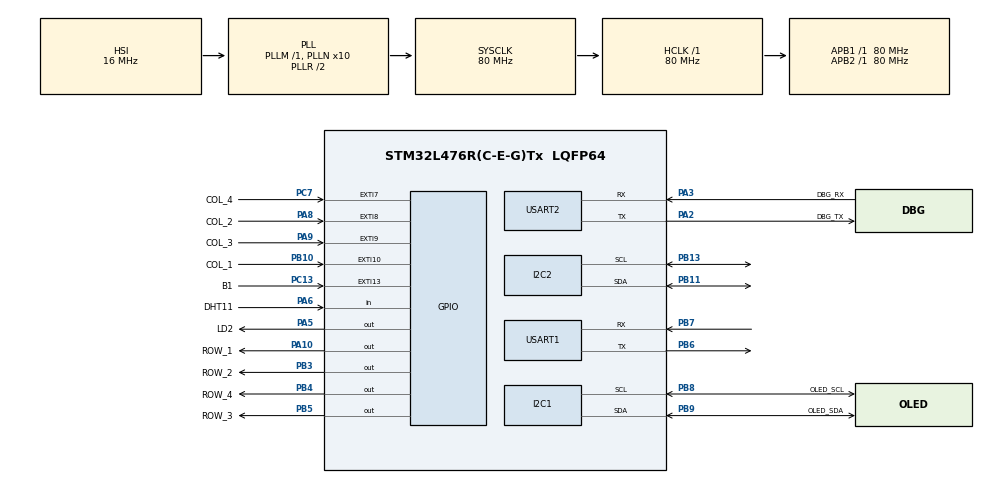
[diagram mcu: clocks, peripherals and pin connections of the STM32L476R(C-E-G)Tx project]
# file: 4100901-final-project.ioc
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I2C1.Timing=0x10909CEC
I2C2.Timing=0x10909CEC
Mcu.Family=STM32L4
Mcu.Name=STM32L476R(C-E-G)Tx
Mcu.Package=LQFP64
NVIC.EXTI15_10_IRQn=true\:0\:0\:false\:false\:true\:true\:true\:true
NVIC.EXTI9_5_IRQn=true\:0\:0\:false\:false\:true\:true\:true\:true
NVIC.PriorityGroup=NVIC_PRIORITYGROUP_4
NVIC.RTC_Alarm_IRQn=true\:0\:0\:false\:false\:true\:true\:true\:true
NVIC.USART1_IRQn=true\:0\:0\:false\:false\:true\:true\:true\:true
NVIC.USART2_IRQn=true\:0\:0\:false\:false\:true\:true\:true\:true
PA10.GPIO_Label=ROW_1
PA10.Signal=GPIO_Output
PA13\ (JTMS-SWDIO).GPIO_Label=TMS
PA13\ (JTMS-SWDIO).Mode=Serial_Wire
PA13\ (JTMS-SWDIO).Signal=SYS_JTMS-SWDIO
PA14\ (JTCK-SWCLK).GPIO_Label=TCK
PA14\ (JTCK-SWCLK).Mode=Serial_Wire
PA14\ (JTCK-SWCLK).Signal=SYS_JTCK-SWCLK
PA2.GPIO_Label=DBG_TX
PA2.GPIO_Mode=GPIO_MODE_AF_PP
PA2.GPIO_PuPd=GPIO_NOPULL
PA2.GPIO_Speed=GPIO_SPEED_FREQ_VERY_HIGH
PA2.Mode=Asynchronous
PA2.Signal=USART2_TX
PA3.GPIO_Label=DBG_RX
PA3.GPIO_Mode=GPIO_MODE_AF_PP
PA3.GPIO_PuPd=GPIO_NOPULL
PA3.GPIO_Speed=GPIO_SPEED_FREQ_VERY_HIGH
PA3.Mode=Asynchronous
PA3.Signal=USART2_RX
PA5.GPIO_Label=LD2
PA5.GPIO_ModeDefaultOutputPP=GPIO_MODE_OUTPUT_PP
PA5.GPIO_PuPd=GPIO_NOPULL
PA5.GPIO_Speed=GPIO_SPEED_FREQ_LOW
PA5.Signal=GPIO_Output
PA6.GPIO_Label=DHT11
PA6.GPIO_PuPd=GPIO_PULLUP
PA6.Signal=GPIO_Input
PA8.GPIO_Label=COL_2
PA8.GPIO_PuPd=GPIO_PULLDOWN
PA8.Signal=GPXTI8
PA9.GPIO_Label=COL_3
PA9.GPIO_PuPd=GPIO_PULLDOWN
PA9.Signal=GPXTI9
PB10.GPIO_Label=COL_1
PB10.GPIO_PuPd=GPIO_PULLDOWN
PB10.Signal=GPXTI10
PB11.Mode=I2C
PB11.Signal=I2C2_SDA
PB13.Mode=I2C
PB13.Signal=I2C2_SCL
PB3\ (JTDO-TRACESWO).GPIO_Label=ROW_2
PB3\ (JTDO-TRACESWO).Signal=GPIO_Output
PB4\ (NJTRST).GPIO_Label=ROW_4
PB4\ (NJTRST).Signal=GPIO_Output
PB5.GPIO_Label=ROW_3
PB5.Signal=GPIO_Output
PB6.Mode=Asynchronous
PB6.Signal=USART1_TX
PB7.Mode=Asynchronous
PB7.Signal=USART1_RX
PB8.GPIO_Label=OLED_SCL
PB8.Mode=I2C
PB8.Signal=I2C1_SCL
PB9.GPIO_Label=OLED_SDA
PB9.Mode=I2C
PB9.Signal=I2C1_SDA
PC13.GPIO_Label=B1
PC13.GPIO_ModeDefaultEXTI=GPIO_MODE_IT_FALLING
PC13.GPIO_PuPd=GPIO_NOPULL
PC13.Signal=GPXTI13
PC14-OSC32_IN\ (PC14).GPIO_Label=LSE_IN
PC14-OSC32_IN\ (PC14).Mode=LSE-External-Oscillator
PC14-OSC32_IN\ (PC14).Signal=RCC_OSC32_IN
PC15-OSC32_OUT\ (PC15).GPIO_Label=LSE_OUT
PC15-OSC32_OUT\ (PC15).Mode=LSE-External-Oscillator
PC15-OSC32_OUT\ (PC15).Signal=RCC_OSC32_OUT
PC7.GPIO_Label=COL_4
PC7.GPIO_PuPd=GPIO_PULLDOWN
PC7.Signal=GPXTI7
ProjectManager.HeapSize=0x200
ProjectManager.StackSize=0x400
ProjectManager.TargetToolchain=STM32CubeIDE
RCC.ADCFreq_Value=64000000
RCC.AHBFreq_Value=80000000
RCC.APB1Freq_Value=80000000
RCC.APB1TimFreq_Value=80000000
RCC.APB2Freq_Value=80000000
RCC.APB2TimFreq_Value=80000000
RCC.CortexFreq_Value=80000000
RCC.HCLKFreq_Value=80000000
RCC.HSE_VALUE=8000000
RCC.HSI_VALUE=16000000
RCC.MSI_VALUE=4000000
RCC.PLLN=10
RCC.PLLSourceVirtual=RCC_PLLSOURCE_HSI
RCC.PREFETCH_ENABLE=1
RCC.SYSCLKFreq_VALUE=80000000
RCC.SYSCLKSource=RCC_SYSCLKSOURCE_PLLCLK
RCC.USBFreq_Value=64000000
RCC.VCOOutputFreq_Value=160000000
RTC.Alarm-Alarm\ A=RTC_ALARM_A
RTC.Seconds_A-Alarm\ A=0
USART1.VirtualMode-Asynchronous=VM_ASYNC
USART2.VirtualMode-Asynchronous=VM_ASYNC
VP_RTC_VS_RTC_Activate.Mode=RTC_Enabled
VP_RTC_VS_RTC_Alarm_A_Intern.Mode=Alarm A
VP_RTC_VS_RTC_Calendar.Mode=RTC_Calendar
board=NUCLEO-L476RG

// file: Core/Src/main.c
/* USER CODE BEGIN Header */
/**
  ******************************************************************************
  * @file           : main.c
  * @brief          : Main program body
  ******************************************************************************
  * @attention
  *
  * Copyright (c) 2023 STMicroelectronics.
  * All rights reserved.
  *
  * This software is licensed under terms that can be found in the LICENSE file
  * in the root directory of this software component.
  * If no LICENSE file comes with this software, it is provided AS-IS.
  *
  ******************************************************************************
  */
/* USER CODE END Header */
#include "main.h"

/* USER CODE BEGIN Includes */
#include <stdio.h>
#include <ssd1306.h>
#include <ssd1306_fonts.h>
#include "lock.h"
#include "keypad.h"

/* USER CODE END Includes */

I2C_HandleTypeDef hi2c1;
I2C_HandleTypeDef hi2c2;

RTC_HandleTypeDef hrtc;

UART_HandleTypeDef huart1;

/* USER CODE BEGIN PV */
volatile uint16_t keypad_event = KEYPAD_EVENT_NONE;

/* USER CODE END PV */

void SystemClock_Config(void);
static void MX_GPIO_Init(void);
static void MX_USART2_UART_Init(void);
static void MX_I2C1_Init(void);
static void MX_RTC_Init(void);
static void MX_I2C2_Init(void);
static void MX_USART1_UART_Init(void);

/* USER CODE BEGIN 0 */
//uint8_t data[5] = {0};
uint8_t i, j;
uint8_t PinValue;
#define RX_BUFFER_SIZE  64
char IpAdress[]="192.168.1.1";
uint8_t rx_buffer[RX_BUFFER_SIZE];
char parsedIPAddress[]="192.168.1.1";
unsigned char SSDE_LOGE[]=
{
		0x00, 0x00, 0x00, 0x00, 0x00, 0x00, 0x00, 0x00, 0x00, 0x00, 0x00, 0x00, 0x00, 0x00, 0x00, 0x00,
		0x00, 0x00, 0x00, 0x00, 0x00, 0x00, 0x00, 0x00, 0x00, 0x00, 0x00, 0x00, 0x00, 0x00, 0x00, 0x00,
		0x00, 0x00, 0x00, 0x00, 0x00, 0x00, 0x00, 0x00, 0x00, 0x00, 0x00, 0x00, 0x00, 0x00, 0x00, 0x00,
		0x00, 0x00, 0x00, 0x00, 0x00, 0x00, 0x00, 0x00, 0x00, 0x00, 0x00, 0x00, 0x00, 0x00, 0x00, 0x00,
		0x00, 0x00, 0x00, 0x00, 0x00, 0x00, 0x00, 0x00, 0x00, 0x00, 0x00, 0x00, 0x00, 0x00, 0x00, 0x00,
		0x00, 0x00, 0x00, 0x00, 0x00, 0x00, 0x00, 0x00, 0x00, 0x00, 0x00, 0x00, 0x00, 0x20, 0x00, 0x00,
		0x00, 0x00, 0x00, 0x00, 0x00, 0x00, 0x00, 0x00, 0x70, 0x00, 0x00, 0x00, 0x00, 0x00, 0x00, 0x00,
		0x00, 0x00, 0x00, 0xd2, 0x00, 0x00, 0x00, 0x00, 0x00, 0x00, 0x00, 0x00, 0x00, 0x04, 0xd3, 0x00,
		0x00, 0x00, 0x00, 0x00, 0x00, 0x00, 0x00, 0x00, 0x04, 0x73, 0x00, 0x00, 0x00, 0x00, 0x00, 0x00,
		0x00, 0x00, 0x03, 0x84, 0x22, 0x1c, 0x00, 0x00, 0x00, 0x00, 0x00, 0x00, 0x00, 0x01, 0xc0, 0x03,
		0x28, 0x00, 0x00, 0x00, 0x00, 0x00, 0x00, 0x00, 0x01, 0xc0, 0x00, 0x38, 0x00, 0x00, 0x00, 0x00,
		0x00, 0x00, 0x00, 0x01, 0xc0, 0x00, 0x00, 0x00, 0x00, 0x00, 0x00, 0x00, 0x00, 0x00, 0x08, 0x00,
		0x00, 0x00, 0x00, 0x00, 0x00, 0x00, 0x00, 0x00, 0x00, 0x00, 0x00, 0x00, 0x00, 0x00, 0x00, 0x00,
		0x00, 0x00, 0x00, 0x00, 0x0e, 0x0f, 0xff, 0x02, 0x80, 0x00, 0x00, 0x00, 0x00, 0x00, 0x00, 0x0b,
		0x0f, 0xff, 0x06, 0xc0, 0x00, 0x00, 0x00, 0x00, 0x00, 0x00, 0x04, 0x0f, 0xff, 0x00, 0x00, 0x00,
		0x00, 0x00, 0x00, 0x00, 0x00, 0x00, 0x0f, 0x00, 0x00, 0x00, 0x00, 0x00, 0x00, 0x00, 0x00, 0x00,
		0x00, 0x0f, 0x00, 0x00, 0x00, 0x00, 0x00, 0x00, 0x00, 0x00, 0x00, 0x00, 0x0f, 0x00, 0x00, 0x40,
		0x00, 0x00, 0x00, 0x00, 0x00, 0x00, 0x74, 0x0f, 0xfe, 0x01, 0xe0, 0x00, 0x00, 0x00, 0x00, 0x00,
		0x00, 0x74, 0x0f, 0xfe, 0x01, 0xe0, 0x00, 0x00, 0x00, 0x00, 0x00, 0x00, 0x10, 0x0f, 0xfe, 0x00,
		0xc0, 0x00, 0x00, 0x00, 0x00, 0x00, 0x00, 0x00, 0x0f, 0x00, 0x00, 0x00, 0x00, 0x00, 0x00, 0x00,
		0x00, 0x00, 0x00, 0x0f, 0x00, 0x00, 0x00, 0x00, 0x00, 0x00, 0x00, 0x00, 0x00, 0x00, 0x0f, 0x00,
		0x00, 0x00, 0x00, 0x00, 0x00, 0x00, 0x00, 0x00, 0x09, 0x8f, 0xff, 0x07, 0x00, 0x00, 0x00, 0x00,
		0x00, 0x00, 0x00, 0x08, 0x0f, 0xff, 0x07, 0x00, 0x00, 0x00, 0x00, 0x00, 0x00, 0x00, 0x00, 0x0f,
		0xff, 0x00, 0x00, 0x00, 0x00, 0x00, 0x00, 0x00, 0x00, 0x1c, 0x00, 0x00, 0x00, 0x00, 0x00, 0x00,
		0x00, 0x00, 0x00, 0x00, 0x1c, 0x00, 0x00, 0x00, 0x00, 0x00, 0x00, 0x00, 0x00, 0x00, 0x00, 0x01,
		0xc0, 0x00, 0x00, 0x00, 0x00, 0x00, 0x00, 0x00, 0x00, 0x00, 0x01, 0xc0, 0x00, 0x28, 0x00, 0x00,
		0x00, 0x00, 0x00, 0x00, 0x00, 0x01, 0x44, 0x03, 0x28, 0x00, 0x00, 0x00, 0x00, 0x00, 0x00, 0x00,
		0x03, 0x84, 0x60, 0x1c, 0x00, 0x00, 0x00, 0x00, 0x00, 0x00, 0x00, 0x00, 0x04, 0x73, 0x00, 0x00,
		0x00, 0x00, 0x00, 0x00, 0x00, 0x00, 0x00, 0x04, 0xf3, 0x00, 0x00, 0x00, 0x00, 0x00, 0x00, 0x00,
		0x00, 0x00, 0x00, 0x70, 0x00, 0x00, 0x00, 0x00, 0x00, 0x00, 0x00, 0x00, 0x00, 0x00, 0x60, 0x00,
		0x00, 0x00, 0x00, 0x00, 0x00, 0x00, 0x00, 0x00, 0x00, 0x00, 0x00, 0x00, 0x00, 0x00, 0x00, 0x00,
		0x00, 0x00, 0x00, 0x00, 0x00, 0x00, 0x00, 0x00, 0x00, 0x00, 0x00, 0x00, 0x00, 0x00, 0x00, 0x00,
		0x00, 0x00, 0x00, 0x00, 0x00, 0x00, 0x00, 0x00, 0x00, 0x00, 0x00, 0x00, 0x00, 0x00, 0x00, 0x00,
		0x00, 0x00, 0x00, 0x00, 0x00, 0x00, 0x00, 0x00, 0x00, 0x00, 0x00, 0x00, 0x00, 0x00, 0x00, 0x00,
		0x00, 0x00, 0x00, 0x00, 0x00, 0x00, 0x00, 0x00, 0x00, 0x00, 0x00, 0x00, 0x00, 0x00, 0x00, 0x00,
		0x00, 0x00, 0x00, 0x00, 0x00, 0x00, 0x00, 0x00, 0x00, 0x00, 0x00, 0x00

};
//

int _write(int file, char *ptr, int len)//This line defines the function signature. The function has three parameters: file, ptr, and len.
{
  // send each byte in blocking mode
  for (uint8_t idx = 0; idx < len; idx++) {//This for loop iterates over the data to be written. The loop variable idx is used to index into the data buffer.
	  while (LL_USART_IsActiveFlag_TXE(USART2) == 0) {//This while loop waits until the Tx Empty flag is set, indicating that the USART2 peripheral is ready to transmit another byte.
		  // wait until Tx Empty flag becomes true
		  // TODO: add timeout
	  }
	  LL_USART_TransmitData8(USART2, ptr[idx]);//This function transmits the byte of data at index idx in the data buffer.
  }
  return len;//This line returns the number of bytes that were written.

}

// Startup interface with icon of designer
void ssd1306_logo(void)
{	  ssd1306_Reset();//reset of Display
      ssd1306_Fill(Black);//Set color background
	  ssd1306_SetCursor(0, 0);//set cursor for write in display
	  ssd1306_WriteString("Final Project", Font_6x8, White);//write string in display with size font 6x8 with color white
	  ssd1306_Line(0, 10, 128, 10, White);//Generate a line in display of color white
	  ssd1306_DrawBitmap((SSD1306_WIDTH-84)/2, (SSD1306_HEIGHT-45)/2, SSDE_LOGE , 84, 52, White);//draw bitmap for icon
	  ssd1306_UpdateScreen();//Refresh display
	  HAL_Delay(5000);//Wait 5 seconds
	  ssd1306_Reset();//reset of Display

}

void keypad_it_callback(uint16_t pin)//This line defines the function signature. The function has one parameter: pin.
{
	keypad_event = pin;//This line stores the pin number of the pressed button in the keypad_event variable.
}

/* USER CODE END 0 */

int main(void)
{

  /* MCU Configuration--------------------------------------------------------*/

  /* Reset of all peripherals, Initializes the Flash interface and the Systick. */
  HAL_Init();

  /* Configure the system clock */
  SystemClock_Config();

  /* Initialize all configured peripherals */
  MX_GPIO_Init();
  MX_USART2_UART_Init();
  MX_I2C1_Init();
  MX_RTC_Init();
  MX_I2C2_Init();
  MX_USART1_UART_Init();
  /* USER CODE BEGIN 2 */
  ssd1306_Init();//Initializes the SSD1306 OLED display. This function configures the display and prepares it for use.
  ssd1306_logo();//Displays the application logo on the OLED display. This function draws the logo onto the display.
  lock_init();// Initializes the lock system. This function sets up the lock state and prepares the system for user input.
  keypad_init();//Initializes the keypad. This function configures the keypad GPIO pins and prepares the system for keypad input.
 // initDHT11();//Initializes the DHT11 temperature and humidity sensor. This function configures the sensor GPIO pins and prepares the system for sensor readings.

 HAL_UART_Transmit(&huart1, (uint8_t *)"AT+CIPMUX=1\r\n", 14, HAL_MAX_DELAY);  // Configurar el ESP-01 para múltiples conexiones
 HAL_UART_Transmit(&huart1, (uint8_t *)"AT+CIPSERVER=1,23\r\n", 19, HAL_MAX_DELAY);  // Configurar el ESP-01 como servidor Telnet
 //HAL_UART2_Transmit(&huart2, (uint8_t *)"AT+CIPSERVER=1,230\r\n", 19, HAL_MAX_DELAY);
//  ssd1306_SetContrast(0x81);
//  ssd1306_SetCursor(25,0);
//  ssd1306_Fill(Black);
//  ssd1306_WriteString("Hola :)", Font_11x18, White);
//  ssd1306_UpdateScreen();
//  HAL_Delay(5000);
//  ssd1306_Reset();

  /* USER CODE END 2 */

  /* Infinite loop */
  /* USER CODE BEGIN WHILE */
  printf("Started\r\n");//print in terminal "Started"
  while (1)//Generate main loop
  {
	 // HAL_UART_Receive(&huart1, , ), HAL_MAX_DELAY);
	  HAL_UART_Receive(&huart1, rx_buffer, sizeof(rx_buffer), HAL_MAX_DELAY);

	  uint8_t key_pressed = keypad_run(&keypad_event);//This line calls the keypad_run() function to check if a keypad button has been pressed. The keypad_run() function takes a pointer to the keypad_event variable as an argument. The function returns the key code of the pressed button, or KEY_PRESSED_NONE if no button has been pressed.
	  if (key_pressed != KEY_PRESSED_NONE) {//This line checks if the key_pressed variable is not equal to KEY_PRESSED_NONE. If so, this means that a keypad button has been pressed.
		  printf("key: %c\r\n",key_pressed);//This line prints the key code of the pressed button to the console.
		  lock_sequence_handler(key_pressed);//This line calls the lock_sequence_handler() function to handle the key press. The lock_sequence_handler() function takes the key code of the pressed button as an argument.
	  }
  }
}

void ESP_ConnectTelnet(void) {
  char command[] = "AT+CIPSTART=\"TCP\",\"192.168.1.100\",23\r\n";  // Reemplaza con la dirección IP del ESP-01
  char response[100];  // Ajusta el tamaño según tus necesidades

  // Envia el comando AT para establecer la conexión Telnet
  HAL_UART_Transmit(&huart1, (uint8_t*)command, strlen(command), HAL_MAX_DELAY);

  // Espera a recibir la respuesta
  HAL_UART_Receive(&huart1, (uint8_t*)response, sizeof(response), HAL_MAX_DELAY);

  // Analiza la respuesta para obtener la dirección IP (si está disponible)
  // ...

  // Imprime la dirección IP a través de la UART
  HAL_UART_Transmit(&huart1, (uint8_t*)"IP Address: ", strlen("IP Address: "), HAL_MAX_DELAY);
  HAL_UART_Transmit(&huart1, (uint8_t*)parsedIPAddress, strlen(parsedIPAddress), HAL_MAX_DELAY);
  HAL_UART_Transmit(&huart1, (uint8_t*)"\r\n", 2, HAL_MAX_DELAY);
}

    /* USER CODE END WHILE */

void SystemClock_Config(void)
{
  RCC_OscInitTypeDef RCC_OscInitStruct = {0};
  RCC_ClkInitTypeDef RCC_ClkInitStruct = {0};

  /** Configure the main internal regulator output voltage
  */
  if (HAL_PWREx_ControlVoltageScaling(PWR_REGULATOR_VOLTAGE_SCALE1) != HAL_OK)
  {
    Error_Handler();
  }

  /** Initializes the RCC Oscillators according to the specified parameters
  * in the RCC_OscInitTypeDef structure.
  */
  RCC_OscInitStruct.OscillatorType = RCC_OSCILLATORTYPE_HSI|RCC_OSCILLATORTYPE_LSI;
  RCC_OscInitStruct.HSIState = RCC_HSI_ON;
  RCC_OscInitStruct.HSICalibrationValue = RCC_HSICALIBRATION_DEFAULT;
  RCC_OscInitStruct.LSIState = RCC_LSI_ON;
  RCC_OscInitStruct.PLL.PLLState = RCC_PLL_ON;
  RCC_OscInitStruct.PLL.PLLSource = RCC_PLLSOURCE_HSI;
  RCC_OscInitStruct.PLL.PLLM = 1;
  RCC_OscInitStruct.PLL.PLLN = 10;
  RCC_OscInitStruct.PLL.PLLP = RCC_PLLP_DIV7;
  RCC_OscInitStruct.PLL.PLLQ = RCC_PLLQ_DIV2;
  RCC_OscInitStruct.PLL.PLLR = RCC_PLLR_DIV2;
  if (HAL_RCC_OscConfig(&RCC_OscInitStruct) != HAL_OK)
  {
    Error_Handler();
  }

  /** Initializes the CPU, AHB and APB buses clocks
  */
  RCC_ClkInitStruct.ClockType = RCC_CLOCKTYPE_HCLK|RCC_CLOCKTYPE_SYSCLK
                              |RCC_CLOCKTYPE_PCLK1|RCC_CLOCKTYPE_PCLK2;
  RCC_ClkInitStruct.SYSCLKSource = RCC_SYSCLKSOURCE_PLLCLK;
  RCC_ClkInitStruct.AHBCLKDivider = RCC_SYSCLK_DIV1;
  RCC_ClkInitStruct.APB1CLKDivider = RCC_HCLK_DIV1;
  RCC_ClkInitStruct.APB2CLKDivider = RCC_HCLK_DIV1;

  if (HAL_RCC_ClockConfig(&RCC_ClkInitStruct, FLASH_LATENCY_4) != HAL_OK)
  {
    Error_Handler();
  }
}

static void MX_I2C1_Init(void)
{

  hi2c1.Instance = I2C1;
  hi2c1.Init.Timing = 0x10909CEC;
  hi2c1.Init.OwnAddress1 = 0;
  hi2c1.Init.AddressingMode = I2C_ADDRESSINGMODE_7BIT;
  hi2c1.Init.DualAddressMode = I2C_DUALADDRESS_DISABLE;
  hi2c1.Init.OwnAddress2 = 0;
  hi2c1.Init.OwnAddress2Masks = I2C_OA2_NOMASK;
  hi2c1.Init.GeneralCallMode = I2C_GENERALCALL_DISABLE;
  hi2c1.Init.NoStretchMode = I2C_NOSTRETCH_DISABLE;
  if (HAL_I2C_Init(&hi2c1) != HAL_OK)
  {
    Error_Handler();
  }

  /** Configure Analogue filter
  */
  if (HAL_I2CEx_ConfigAnalogFilter(&hi2c1, I2C_ANALOGFILTER_ENABLE) != HAL_OK)
  {
    Error_Handler();
  }

  /** Configure Digital filter
  */
  if (HAL_I2CEx_ConfigDigitalFilter(&hi2c1, 0) != HAL_OK)
  {
    Error_Handler();
  }

}

static void MX_I2C2_Init(void)
{

  hi2c2.Instance = I2C2;
  hi2c2.Init.Timing = 0x10909CEC;
  hi2c2.Init.OwnAddress1 = 0;
  hi2c2.Init.AddressingMode = I2C_ADDRESSINGMODE_7BIT;
  hi2c2.Init.DualAddressMode = I2C_DUALADDRESS_DISABLE;
  hi2c2.Init.OwnAddress2 = 0;
  hi2c2.Init.OwnAddress2Masks = I2C_OA2_NOMASK;
  hi2c2.Init.GeneralCallMode = I2C_GENERALCALL_DISABLE;
  hi2c2.Init.NoStretchMode = I2C_NOSTRETCH_DISABLE;
  if (HAL_I2C_Init(&hi2c2) != HAL_OK)
  {
    Error_Handler();
  }

  /** Configure Analogue filter
  */
  if (HAL_I2CEx_ConfigAnalogFilter(&hi2c2, I2C_ANALOGFILTER_ENABLE) != HAL_OK)
  {
    Error_Handler();
  }

  /** Configure Digital filter
  */
  if (HAL_I2CEx_ConfigDigitalFilter(&hi2c2, 0) != HAL_OK)
  {
    Error_Handler();
  }

}

static void MX_RTC_Init(void)
{

  RTC_TimeTypeDef sTime = {0};
  RTC_DateTypeDef sDate = {0};
  RTC_AlarmTypeDef sAlarm = {0};

  /** Initialize RTC Only
  */
  hrtc.Instance = RTC;
  hrtc.Init.HourFormat = RTC_HOURFORMAT_24;
  hrtc.Init.AsynchPrediv = 127;
  hrtc.Init.SynchPrediv = 255;
  hrtc.Init.OutPut = RTC_OUTPUT_DISABLE;
  hrtc.Init.OutPutRemap = RTC_OUTPUT_REMAP_NONE;
  hrtc.Init.OutPutPolarity = RTC_OUTPUT_POLARITY_HIGH;
  hrtc.Init.OutPutType = RTC_OUTPUT_TYPE_OPENDRAIN;
  if (HAL_RTC_Init(&hrtc) != HAL_OK)
  {
    Error_Handler();
  }

  /** Initialize RTC and set the Time and Date
  */
  sTime.Hours = 0x0;
  sTime.Minutes = 0x0;
  sTime.Seconds = 0x0;
  sTime.DayLightSaving = RTC_DAYLIGHTSAVING_NONE;
  sTime.StoreOperation = RTC_STOREOPERATION_RESET;
  if (HAL_RTC_SetTime(&hrtc, &sTime, RTC_FORMAT_BCD) != HAL_OK)
  {
    Error_Handler();
  }
  sDate.WeekDay = RTC_WEEKDAY_MONDAY;
  sDate.Month = RTC_MONTH_JANUARY;
  sDate.Date = 0x1;
  sDate.Year = 0x0;

  if (HAL_RTC_SetDate(&hrtc, &sDate, RTC_FORMAT_BCD) != HAL_OK)
  {
    Error_Handler();
  }

  /** Enable the Alarm A
  */
  sAlarm.AlarmTime.Hours = 0x0;
  sAlarm.AlarmTime.Minutes = 0x0;
  sAlarm.AlarmTime.Seconds = 0x0;
  sAlarm.AlarmTime.SubSeconds = 0x0;
  sAlarm.AlarmTime.DayLightSaving = RTC_DAYLIGHTSAVING_NONE;
  sAlarm.AlarmTime.StoreOperation = RTC_STOREOPERATION_RESET;
  sAlarm.AlarmMask = RTC_ALARMMASK_NONE;
  sAlarm.AlarmSubSecondMask = RTC_ALARMSUBSECONDMASK_ALL;
  sAlarm.AlarmDateWeekDaySel = RTC_ALARMDATEWEEKDAYSEL_DATE;
  sAlarm.AlarmDateWeekDay = 0x1;
  sAlarm.Alarm = RTC_ALARM_A;
  if (HAL_RTC_SetAlarm_IT(&hrtc, &sAlarm, RTC_FORMAT_BCD) != HAL_OK)
  {
    Error_Handler();
  }

}

static void MX_USART1_UART_Init(void)
{

  huart1.Instance = USART1;
  huart1.Init.BaudRate = 115200;
  huart1.Init.WordLength = UART_WORDLENGTH_8B;
  huart1.Init.StopBits = UART_STOPBITS_1;
  huart1.Init.Parity = UART_PARITY_NONE;
  huart1.Init.Mode = UART_MODE_TX_RX;
  huart1.Init.HwFlowCtl = UART_HWCONTROL_NONE;
  huart1.Init.OverSampling = UART_OVERSAMPLING_16;
  huart1.Init.OneBitSampling = UART_ONE_BIT_SAMPLE_DISABLE;
  huart1.AdvancedInit.AdvFeatureInit = UART_ADVFEATURE_NO_INIT;
  if (HAL_UART_Init(&huart1) != HAL_OK)
  {
    Error_Handler();
  }

}

static void MX_USART2_UART_Init(void)
{

  LL_USART_InitTypeDef USART_InitStruct = {0};

  LL_GPIO_InitTypeDef GPIO_InitStruct = {0};
  RCC_PeriphCLKInitTypeDef PeriphClkInit = {0};

  /** Initializes the peripherals clock
  */
  PeriphClkInit.PeriphClockSelection = RCC_PERIPHCLK_USART2;
  PeriphClkInit.Usart2ClockSelection = RCC_USART2CLKSOURCE_PCLK1;
  if (HAL_RCCEx_PeriphCLKConfig(&PeriphClkInit) != HAL_OK)
  {
    Error_Handler();
  }

  /* Peripheral clock enable */
  LL_APB1_GRP1_EnableClock(LL_APB1_GRP1_PERIPH_USART2);

  LL_AHB2_GRP1_EnableClock(LL_AHB2_GRP1_PERIPH_GPIOA);
  /**USART2 GPIO Configuration
  PA2   ------> USART2_TX
  PA3   ------> USART2_RX
  */
  GPIO_InitStruct.Pin = DBG_TX_Pin|DBG_RX_Pin;
  GPIO_InitStruct.Mode = LL_GPIO_MODE_ALTERNATE;
  GPIO_InitStruct.Speed = LL_GPIO_SPEED_FREQ_VERY_HIGH;
  GPIO_InitStruct.OutputType = LL_GPIO_OUTPUT_PUSHPULL;
  GPIO_InitStruct.Pull = LL_GPIO_PULL_NO;
  GPIO_InitStruct.Alternate = LL_GPIO_AF_7;
  LL_GPIO_Init(GPIOA, &GPIO_InitStruct);

  /* USART2 interrupt Init */
  NVIC_SetPriority(USART2_IRQn, NVIC_EncodePriority(NVIC_GetPriorityGrouping(),0, 0));
  NVIC_EnableIRQ(USART2_IRQn);

  USART_InitStruct.BaudRate = 115200;
  USART_InitStruct.DataWidth = LL_USART_DATAWIDTH_8B;
  USART_InitStruct.StopBits = LL_USART_STOPBITS_1;
  USART_InitStruct.Parity = LL_USART_PARITY_NONE;
  USART_InitStruct.TransferDirection = LL_USART_DIRECTION_TX_RX;
  USART_InitStruct.HardwareFlowControl = LL_USART_HWCONTROL_NONE;
  USART_InitStruct.OverSampling = LL_USART_OVERSAMPLING_16;
  LL_USART_Init(USART2, &USART_InitStruct);
  LL_USART_ConfigAsyncMode(USART2);
  LL_USART_Enable(USART2);

}

static void MX_GPIO_Init(void)
{
  LL_EXTI_InitTypeDef EXTI_InitStruct = {0};
  LL_GPIO_InitTypeDef GPIO_InitStruct = {0};

  /* GPIO Ports Clock Enable */
  LL_AHB2_GRP1_EnableClock(LL_AHB2_GRP1_PERIPH_GPIOC);
  LL_AHB2_GRP1_EnableClock(LL_AHB2_GRP1_PERIPH_GPIOA);
  LL_AHB2_GRP1_EnableClock(LL_AHB2_GRP1_PERIPH_GPIOB);

  /**/
  LL_GPIO_ResetOutputPin(GPIOA, LD2_Pin|ROW_1_Pin);

  /**/
  LL_GPIO_ResetOutputPin(GPIOB, ROW_2_Pin|ROW_4_Pin|ROW_3_Pin);

  /**/
  LL_SYSCFG_SetEXTISource(LL_SYSCFG_EXTI_PORTC, LL_SYSCFG_EXTI_LINE13);

  /**/
  LL_SYSCFG_SetEXTISource(LL_SYSCFG_EXTI_PORTB, LL_SYSCFG_EXTI_LINE10);

  /**/
  LL_SYSCFG_SetEXTISource(LL_SYSCFG_EXTI_PORTC, LL_SYSCFG_EXTI_LINE7);

  /**/
  LL_SYSCFG_SetEXTISource(LL_SYSCFG_EXTI_PORTA, LL_SYSCFG_EXTI_LINE8);

  /**/
  LL_SYSCFG_SetEXTISource(LL_SYSCFG_EXTI_PORTA, LL_SYSCFG_EXTI_LINE9);

  /**/
  EXTI_InitStruct.Line_0_31 = LL_EXTI_LINE_13;
  EXTI_InitStruct.Line_32_63 = LL_EXTI_LINE_NONE;
  EXTI_InitStruct.LineCommand = ENABLE;
  EXTI_InitStruct.Mode = LL_EXTI_MODE_IT;
  EXTI_InitStruct.Trigger = LL_EXTI_TRIGGER_FALLING;
  LL_EXTI_Init(&EXTI_InitStruct);

  /**/
  EXTI_InitStruct.Line_0_31 = LL_EXTI_LINE_10;
  EXTI_InitStruct.Line_32_63 = LL_EXTI_LINE_NONE;
  EXTI_InitStruct.LineCommand = ENABLE;
  EXTI_InitStruct.Mode = LL_EXTI_MODE_IT;
  EXTI_InitStruct.Trigger = LL_EXTI_TRIGGER_RISING;
  LL_EXTI_Init(&EXTI_InitStruct);

  /**/
  EXTI_InitStruct.Line_0_31 = LL_EXTI_LINE_7;
  EXTI_InitStruct.Line_32_63 = LL_EXTI_LINE_NONE;
  EXTI_InitStruct.LineCommand = ENABLE;
  EXTI_InitStruct.Mode = LL_EXTI_MODE_IT;
  EXTI_InitStruct.Trigger = LL_EXTI_TRIGGER_RISING;
  LL_EXTI_Init(&EXTI_InitStruct);

  /**/
  EXTI_InitStruct.Line_0_31 = LL_EXTI_LINE_8;
  EXTI_InitStruct.Line_32_63 = LL_EXTI_LINE_NONE;
  EXTI_InitStruct.LineCommand = ENABLE;
  EXTI_InitStruct.Mode = LL_EXTI_MODE_IT;
  EXTI_InitStruct.Trigger = LL_EXTI_TRIGGER_RISING;
  LL_EXTI_Init(&EXTI_InitStruct);

  /**/
  EXTI_InitStruct.Line_0_31 = LL_EXTI_LINE_9;
  EXTI_InitStruct.Line_32_63 = LL_EXTI_LINE_NONE;
  EXTI_InitStruct.LineCommand = ENABLE;
  EXTI_InitStruct.Mode = LL_EXTI_MODE_IT;
  EXTI_InitStruct.Trigger = LL_EXTI_TRIGGER_RISING;
  LL_EXTI_Init(&EXTI_InitStruct);

  /**/
  LL_GPIO_SetPinPull(B1_GPIO_Port, B1_Pin, LL_GPIO_PULL_NO);

  /**/
  LL_GPIO_SetPinPull(COL_1_GPIO_Port, COL_1_Pin, LL_GPIO_PULL_DOWN);

  /**/
  LL_GPIO_SetPinPull(COL_4_GPIO_Port, COL_4_Pin, LL_GPIO_PULL_DOWN);

  /**/
  LL_GPIO_SetPinPull(COL_2_GPIO_Port, COL_2_Pin, LL_GPIO_PULL_DOWN);

  /**/
  LL_GPIO_SetPinPull(COL_3_GPIO_Port, COL_3_Pin, LL_GPIO_PULL_DOWN);

  /**/
  LL_GPIO_SetPinMode(B1_GPIO_Port, B1_Pin, LL_GPIO_MODE_INPUT);

  /**/
  LL_GPIO_SetPinMode(COL_1_GPIO_Port, COL_1_Pin, LL_GPIO_MODE_INPUT);

  /**/
  LL_GPIO_SetPinMode(COL_4_GPIO_Port, COL_4_Pin, LL_GPIO_MODE_INPUT);

  /**/
  LL_GPIO_SetPinMode(COL_2_GPIO_Port, COL_2_Pin, LL_GPIO_MODE_INPUT);

  /**/
  LL_GPIO_SetPinMode(COL_3_GPIO_Port, COL_3_Pin, LL_GPIO_MODE_INPUT);

  /**/
  GPIO_InitStruct.Pin = LD2_Pin|ROW_1_Pin;
  GPIO_InitStruct.Mode = LL_GPIO_MODE_OUTPUT;
  GPIO_InitStruct.Speed = LL_GPIO_SPEED_FREQ_LOW;
  GPIO_InitStruct.OutputType = LL_GPIO_OUTPUT_PUSHPULL;
  GPIO_InitStruct.Pull = LL_GPIO_PULL_NO;
  LL_GPIO_Init(GPIOA, &GPIO_InitStruct);

  /**/
  GPIO_InitStruct.Pin = DHT11_Pin;
  GPIO_InitStruct.Mode = LL_GPIO_MODE_INPUT;
  GPIO_InitStruct.Pull = LL_GPIO_PULL_UP;
  LL_GPIO_Init(DHT11_GPIO_Port, &GPIO_InitStruct);

  /**/
  GPIO_InitStruct.Pin = ROW_2_Pin|ROW_4_Pin|ROW_3_Pin;
  GPIO_InitStruct.Mode = LL_GPIO_MODE_OUTPUT;
  GPIO_InitStruct.Speed = LL_GPIO_SPEED_FREQ_LOW;
  GPIO_InitStruct.OutputType = LL_GPIO_OUTPUT_PUSHPULL;
  GPIO_InitStruct.Pull = LL_GPIO_PULL_NO;
  LL_GPIO_Init(GPIOB, &GPIO_InitStruct);

  /* EXTI interrupt init*/
  NVIC_SetPriority(EXTI9_5_IRQn, NVIC_EncodePriority(NVIC_GetPriorityGrouping(),0, 0));
  NVIC_EnableIRQ(EXTI9_5_IRQn);
  NVIC_SetPriority(EXTI15_10_IRQn, NVIC_EncodePriority(NVIC_GetPriorityGrouping(),0, 0));
  NVIC_EnableIRQ(EXTI15_10_IRQn);

}

void Error_Handler(void)
{
  __disable_irq();
  while (1)
  {
  }
}
